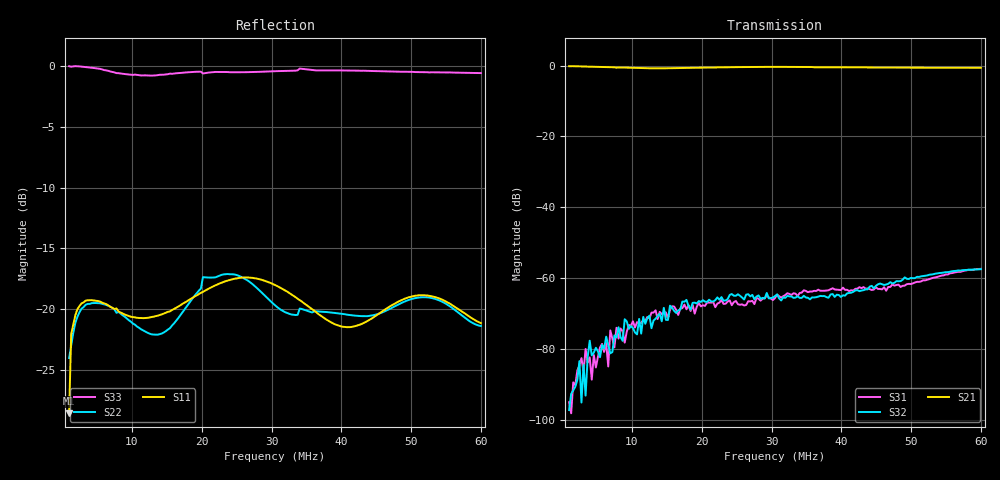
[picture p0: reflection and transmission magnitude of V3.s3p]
#  HZ  S  DB  R  50.00
! Rohde & Schwarz ZVT8 8Ports - Version 4.11 - 1300.0000k08 SN: 100242
! Date: 2024-03-13 13:29:08
! Measurements: S11 S12 S13 S21 S22 S23 S31 S32 S33
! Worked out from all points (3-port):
!   201 points, 1 MHz to 60 MHz, reference 50 ohm
!   strongest paths, dB at 1 MHz, 15.75 MHz, 30.5 MHz, 45.25 MHz, 60 MHz:
!     S21: -0.2, -0.8, -0.4, -0.6, -0.6
!     S32: -97.3, -68.4, -65.1, -61.8, -57.5
!     S31: -95.1, -68.0, -65.7, -63.1, -57.4
!   lowest |S11| = -28.6 dB at 1 MHz (marker M1), VSWR 1.08, Z = 46.7 - j1.39 ohm
!   |S11| at or under -10 dB: start of sweep to end of sweep
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1000000  -28.59 -156.4  -0.05 -12.9  -92.74 82.3
         -0.20 -12.6  -24.04 -164.7  -95.56 71.3
         -95.05 74.9  -97.25 44.6  -0.01 -9.1
2180000  -20.03 151.0  -0.10 -27.3  -82.01 102.7
         -0.24 -26.9  -20.65 136.6  -85.17 139.3
         -86.09 15.4  -88.70 40.7  -0.01 -19.8
7490000  -20.00 31.0  -0.45 -92.3  -78.21 40.1
         -0.50 -91.8  -20.03 -9.2  -76.87 2.6
         -79.57 30.5  -76.20 0.5  -0.52 -68.9
1.516e7  -20.23 -94.0  -0.76 178.0  -70.60 -58.2
         -0.76 178.2  -21.69 173.0  -70.26 -76.9
         -71.38 -58.0  -71.84 -77.7  -0.66 -133.3
2.283e7  -17.84 121.7  -0.45 87.4  -69.14 -128.1
         -0.51 87.2  -17.19 -10.2  -66.18 177.0
         -66.20 -129.6  -65.37 173.7  -0.48 156.1
3.05e7  -18.02 -12.2  -0.29 -5.5  -64.82 177.2
        -0.38 -5.5  -19.69 172.7  -65.41 82.3
        -65.65 170.1  -65.08 80.1  -0.42 86.2
3.758e7  -20.76 -146.2  -0.41 -90.7  -62.20 105.2
         -0.49 -90.6  -20.24 -11.7  -64.24 7.9
         -63.58 100.9  -65.07 10.9  -0.35 23.1
4.4955e7  -20.56 57.7  -0.48 -179.7  -62.23 29.1
          -0.55 -179.6  -20.46 161.8  -61.64 -74.1
          -62.59 34.0  -62.20 -67.0  -0.41 -43.3
5.2625e7  -18.92 -71.8  -0.54 88.8  -60.64 -29.9
          -0.62 88.9  -19.06 -15.9  -59.59 -163.8
          -60.29 -24.7  -59.05 -159.6  -0.52 -111.4
6e7  -21.16 157.9  -0.57 0.5  -58.18 -103.3
     -0.64 0.6  -21.40 167.3  -58.42 102.7
     -57.40 -104.3  -57.50 100.6  -0.57 -178.1
